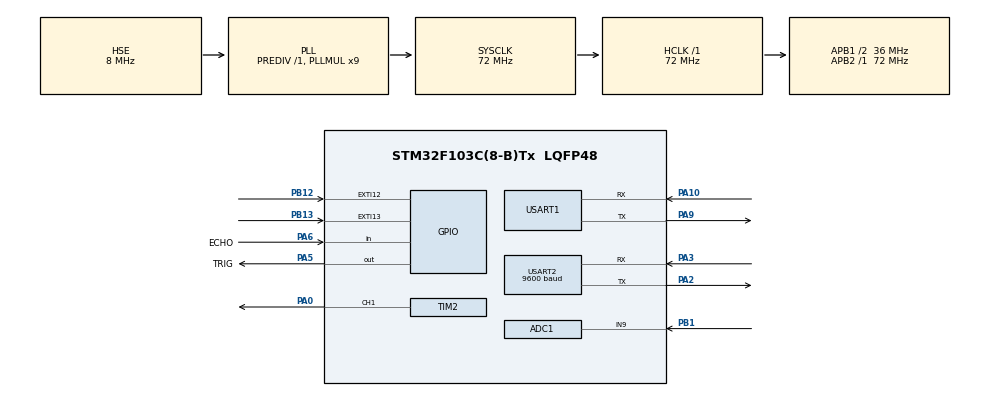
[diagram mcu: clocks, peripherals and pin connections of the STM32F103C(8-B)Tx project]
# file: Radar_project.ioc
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ADC1.Channel-1\#ChannelRegularConversion=ADC_CHANNEL_9
ADC1.NbrOfConversionFlag=1
ADC1.Rank-1\#ChannelRegularConversion=1
ADC1.SamplingTime-1\#ChannelRegularConversion=ADC_SAMPLETIME_1CYCLE_5
ADC1.master=1
Mcu.Family=STM32F1
Mcu.Name=STM32F103C(8-B)Tx
Mcu.Package=LQFP48
NVIC.EXTI15_10_IRQn=true\:0\:0\:false\:false\:true\:true\:true\:true
NVIC.PriorityGroup=NVIC_PRIORITYGROUP_4
PA0-WKUP.Signal=S_TIM2_CH1_ETR
PA10.Mode=Asynchronous
PA10.Signal=USART1_RX
PA2.Mode=Asynchronous
PA2.Signal=USART2_TX
PA3.Mode=Asynchronous
PA3.Signal=USART2_RX
PA5.GPIO_Label=TRIG
PA5.Signal=GPIO_Output
PA6.GPIO_Label=ECHO
PA6.Signal=GPIO_Input
PA9.Mode=Asynchronous
PA9.Signal=USART1_TX
PB1.Signal=ADCx_IN9
PB12.GPIO_PuPd=GPIO_PULLDOWN
PB12.Signal=GPXTI12
PB13.GPIO_PuPd=GPIO_PULLDOWN
PB13.Signal=GPXTI13
PD0-OSC_IN.Mode=HSE-External-Oscillator
PD0-OSC_IN.Signal=RCC_OSC_IN
PD1-OSC_OUT.Mode=HSE-External-Oscillator
PD1-OSC_OUT.Signal=RCC_OSC_OUT
ProjectManager.HeapSize=0x200
ProjectManager.StackSize=0x400
ProjectManager.TargetToolchain=STM32CubeIDE
RCC.ADCPresc=RCC_ADCPCLK2_DIV6
RCC.AHBFreq_Value=72000000
RCC.APB1CLKDivider=RCC_HCLK_DIV2
RCC.APB1Freq_Value=36000000
RCC.APB1TimFreq_Value=72000000
RCC.APB2Freq_Value=72000000
RCC.APB2TimFreq_Value=72000000
RCC.HCLKFreq_Value=72000000
RCC.PLLMUL=RCC_PLL_MUL9
RCC.PLLSourceVirtual=RCC_PLLSOURCE_HSE
RCC.SYSCLKFreq_VALUE=72000000
RCC.SYSCLKSource=RCC_SYSCLKSOURCE_PLLCLK
RCC.USBFreq_Value=72000000
SH.ADCx_IN9.0=ADC1_IN9,IN9
SH.S_TIM2_CH1_ETR.0=TIM2_CH1,PWM Generation1 CH1
TIM1.Prescaler=71
TIM2.Channel-PWM\ Generation1\ CH1=TIM_CHANNEL_1
TIM2.Period=19999
TIM2.Prescaler=71
USART1.VirtualMode=VM_ASYNC
USART2.BaudRate=9600
USART2.VirtualMode=VM_ASYNC
VP_SYS_VS_ND.Mode=No_Debug
VP_TIM1_VS_ClockSourceINT.Mode=Internal
VP_TIM2_VS_ClockSourceINT.Mode=Internal
board=custom

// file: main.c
/* USER CODE BEGIN Header */
/**
  ******************************************************************************
  * @file           : main.c
  * @brief          : Main program body
  ******************************************************************************
  */
/* USER CODE END Header */
#include "main.h"
#include <stdio.h>
#include <string.h>

ADC_HandleTypeDef hadc1;
TIM_HandleTypeDef htim1;
TIM_HandleTypeDef htim2;
UART_HandleTypeDef huart1;
UART_HandleTypeDef huart2;

/* USER CODE BEGIN 0 */
// Volatile flags for hardware interrupts.
// State changes are deferred to the main loop to keep ISR execution time minimal.
volatile uint8_t pb12_interrupt_flag = 0;
volatile uint8_t pb13_interrupt_flag = 0;
/* USER CODE END 0 */

void SystemClock_Config(void);
static void MX_GPIO_Init(void);
static void MX_TIM2_Init(void);
static void MX_TIM1_Init(void);
static void MX_USART1_UART_Init(void);
static void MX_USART2_UART_Init(void);
static void MX_ADC1_Init(void);

int main(void)
{
  HAL_Init();
  SystemClock_Config();

  MX_GPIO_Init();
  MX_TIM2_Init();
  MX_TIM1_Init();
  MX_USART1_UART_Init();
  MX_USART2_UART_Init();
  MX_ADC1_Init();

  /* USER CODE BEGIN 2 */
  // Initialize Hardware Timers
  HAL_TIM_PWM_Start(&htim2, TIM_CHANNEL_1); // Servo Motor PWM
  HAL_TIM_Base_Start(&htim1);               // Ultrasonic Microsecond Counter

  // Servo Control Parameters (PWM limits for 180-degree sweep)
  uint16_t pulse_min = 500;
  uint16_t pulse_max = 2500;
  uint16_t pulse_width = 1500; // Initialize at 90 degrees (center)
  uint16_t step_size = 2;
  uint16_t delay_ms = 5;

  // Sensor & Data Pipeline Variables
  uint32_t echo_time = 0;
  uint16_t distance = 0;
  char uart_buffer[50];
  uint32_t timeout = 0;

  // System State Management
  int8_t transmit_method = 1;  // 1 = Wired (UART1), -1 = Wireless (UART2)
  int8_t movement_method = 1;  // 1 = Auto-Sweep, -1 = Manual Joystick
  /* USER CODE END 2 */

  while (1)
  {
      // --- Process Pending Hardware Interrupts ---

      // Toggle Data Transmission Route
      if (pb12_interrupt_flag == 1)
      {
          transmit_method = transmit_method * -1;
          pb12_interrupt_flag = 0;
      }

      // Toggle Movement Control Mode
      if (pb13_interrupt_flag == 1)
      {
          movement_method = movement_method * -1;
          pb13_interrupt_flag = 0;
      }

      // ==========================================
      // MODE 1: AUTOMATED RADAR SWEEP
      // ==========================================
      if (movement_method == 1)
      {
          // Sweep UP (0 to 180 degrees)
          for (; pulse_width <= pulse_max; pulse_width += step_size)
          {
              // Check for state changes mid-sweep
              if (pb12_interrupt_flag == 1) { transmit_method *= -1; pb12_interrupt_flag = 0; }
              if (pb13_interrupt_flag == 1) { movement_method *= -1; pb13_interrupt_flag = 0; break; }

              // Move Servo
              __HAL_TIM_SET_COMPARE(&htim2, TIM_CHANNEL_1, pulse_width);
              HAL_Delay(delay_ms);

              // Transmit 10us Ultrasonic Trigger Pulse
              HAL_GPIO_WritePin(TRIG_GPIO_Port, TRIG_Pin, GPIO_PIN_SET);
              HAL_Delay(1);
              HAL_GPIO_WritePin(TRIG_GPIO_Port, TRIG_Pin, GPIO_PIN_RESET);

              // Wait for Echo line to go HIGH
              timeout = 0;
              while (HAL_GPIO_ReadPin(ECHO_GPIO_Port, ECHO_Pin) == GPIO_PIN_RESET && timeout < 30000) { timeout++; }

              // Reset timer and measure Echo pulse duration
              __HAL_TIM_SET_COUNTER(&htim1, 0);

              timeout = 0;
              while (HAL_GPIO_ReadPin(ECHO_GPIO_Port, ECHO_Pin) == GPIO_PIN_SET && timeout < 30000) { timeout++; }

              echo_time = __HAL_TIM_GET_COUNTER(&htim1);
              distance = echo_time * 0.0343 / 2; // Convert raw time to distance in cm

              // Package data into CSV format: [Pulse, Distance, Time]
              if (echo_time == 0 || echo_time > 30000) {
                  snprintf(uart_buffer, sizeof(uart_buffer), "error\r\n");
              } else {
                  snprintf(uart_buffer, sizeof(uart_buffer), "%u,%u,%lu\r\n", pulse_width, distance, echo_time);
              }

              // Route data payload to the active transmission port
              if (transmit_method == 1) {
                  HAL_UART_Transmit(&huart1, (uint8_t *)uart_buffer, strlen(uart_buffer), HAL_MAX_DELAY);
              } else if (transmit_method == -1) {
                  HAL_UART_Transmit(&huart2, (uint8_t *)uart_buffer, strlen(uart_buffer), HAL_MAX_DELAY);
              } else {
                  snprintf(uart_buffer, sizeof(uart_buffer), "error transmitting\r\n");
                  HAL_UART_Transmit(&huart2, (uint8_t *)uart_buffer, strlen(uart_buffer), HAL_MAX_DELAY);
                  HAL_UART_Transmit(&huart1, (uint8_t *)uart_buffer, strlen(uart_buffer), HAL_MAX_DELAY);
              }
          }

          // Sweep DOWN (180 to 0 degrees)
          if (movement_method == 1)
          {
              for (; pulse_width >= pulse_min; pulse_width -= step_size)
              {
                  // Check for state changes mid-sweep
                  if (pb12_interrupt_flag == 1) { transmit_method *= -1; pb12_interrupt_flag = 0; }
                  if (pb13_interrupt_flag == 1) { movement_method *= -1; pb13_interrupt_flag = 0; break; }

                  // Move Servo
                  __HAL_TIM_SET_COMPARE(&htim2, TIM_CHANNEL_1, pulse_width);
                  HAL_Delay(delay_ms);

                  // Transmit 10us Ultrasonic Trigger Pulse
                  HAL_GPIO_WritePin(TRIG_GPIO_Port, TRIG_Pin, GPIO_PIN_SET);
                  HAL_Delay(1);
                  HAL_GPIO_WritePin(TRIG_GPIO_Port, TRIG_Pin, GPIO_PIN_RESET);

                  // Wait for Echo line to go HIGH
                  timeout = 0;
                  while (HAL_GPIO_ReadPin(ECHO_GPIO_Port, ECHO_Pin) == GPIO_PIN_RESET && timeout < 30000) { timeout++; }

                  // Reset timer and measure Echo pulse duration
                  __HAL_TIM_SET_COUNTER(&htim1, 0);

                  timeout = 0;
                  while (HAL_GPIO_ReadPin(ECHO_GPIO_Port, ECHO_Pin) == GPIO_PIN_SET && timeout < 30000) { timeout++; }

                  echo_time = __HAL_TIM_GET_COUNTER(&htim1);
                  distance = echo_time * 0.0343 / 2; // Convert raw time to distance in cm

                  // Package data into CSV format: [Pulse, Distance, Time]
                  if (echo_time == 0 || echo_time > 30000) {
                      snprintf(uart_buffer, sizeof(uart_buffer), "error\r\n");
                  } else {
                      snprintf(uart_buffer, sizeof(uart_buffer), "%u,%u,%lu\r\n", pulse_width, distance, echo_time);
                  }

                  // Route data payload to the active transmission port
                  if (transmit_method == 1) {
                      HAL_UART_Transmit(&huart1, (uint8_t *)uart_buffer, strlen(uart_buffer), HAL_MAX_DELAY);
                  } else if (transmit_method == -1) {
                      HAL_UART_Transmit(&huart2, (uint8_t *)uart_buffer, strlen(uart_buffer), HAL_MAX_DELAY);
                  } else {
                      snprintf(uart_buffer, sizeof(uart_buffer), "error transmitting\r\n");
                      HAL_UART_Transmit(&huart2, (uint8_t *)uart_buffer, strlen(uart_buffer), HAL_MAX_DELAY);
                      HAL_UART_Transmit(&huart1, (uint8_t *)uart_buffer, strlen(uart_buffer), HAL_MAX_DELAY);
                  }
              }
          }
      }
      // ==========================================
      // MODE -1: MANUAL ANALOG JOYSTICK OVERRIDE
      // ==========================================
      else if (movement_method == -1)
      {
          // Poll ADC to read current joystick voltage
          HAL_ADC_Start(&hadc1);
          HAL_ADC_PollForConversion(&hadc1, 10);
          uint32_t joystick_val = HAL_ADC_GetValue(&hadc1);

          // Calibrated joystick deadzones (Center resting value is ~3145)
          int32_t deadzone_left = 2900;
          int32_t deadzone_right = 3400;

          // Asymmetric sensitivity scaling to balance hardware voltage offsets
          int32_t sensitivity_left = 150;
          int32_t sensitivity_right = 37;

          int32_t dynamic_step = 0;
          int32_t difference = 0;

          // Process Left Deflection
          if (joystick_val < deadzone_left)
          {
              difference = deadzone_left - joystick_val;
              dynamic_step = 1 + (difference / sensitivity_left);

              if (pulse_width > pulse_min) {
                  if (pulse_width > (pulse_min + dynamic_step)) {
                      pulse_width -= dynamic_step;
                  } else {
                      pulse_width = pulse_min;
                  }
              }
          }
          // Process Right Deflection
          else if (joystick_val > deadzone_right)
          {
              difference = joystick_val - deadzone_right;
              dynamic_step = 1 + (difference / sensitivity_right);

              if (pulse_width < pulse_max) {
                  if (pulse_width < (pulse_max - dynamic_step)) {
                      pulse_width += dynamic_step;
                  } else {
                      pulse_width = pulse_max;
                  }
              }
          }

          // Apply calculated dynamic step to servo
          __HAL_TIM_SET_COMPARE(&htim2, TIM_CHANNEL_1, pulse_width);
          HAL_Delay(delay_ms);

          // Continuous Radar Ping for live environment monitoring during manual override
          HAL_GPIO_WritePin(TRIG_GPIO_Port, TRIG_Pin, GPIO_PIN_SET);
          HAL_Delay(1);
          HAL_GPIO_WritePin(TRIG_GPIO_Port, TRIG_Pin, GPIO_PIN_RESET);

          timeout = 0;
          while (HAL_GPIO_ReadPin(ECHO_GPIO_Port, ECHO_Pin) == GPIO_PIN_RESET && timeout < 30000) { timeout++; }

          __HAL_TIM_SET_COUNTER(&htim1, 0);

          timeout = 0;
          while (HAL_GPIO_ReadPin(ECHO_GPIO_Port, ECHO_Pin) == GPIO_PIN_SET && timeout < 30000) { timeout++; }

          echo_time = __HAL_TIM_GET_COUNTER(&htim1);
          distance = echo_time * 0.0343 / 2;

          if (echo_time == 0 || echo_time > 30000) {
              snprintf(uart_buffer, sizeof(uart_buffer), "error\r\n");
          } else {
              snprintf(uart_buffer, sizeof(uart_buffer), "%u,%u,%lu\r\n", pulse_width, distance, echo_time);
          }

          // Route data payload to the active transmission port
          if (transmit_method == 1) {
              HAL_UART_Transmit(&huart1, (uint8_t *)uart_buffer, strlen(uart_buffer), HAL_MAX_DELAY);
          } else if (transmit_method == -1) {
              HAL_UART_Transmit(&huart2, (uint8_t *)uart_buffer, strlen(uart_buffer), HAL_MAX_DELAY);
          } else {
              snprintf(uart_buffer, sizeof(uart_buffer), "error transmitting\r\n");
              HAL_UART_Transmit(&huart2, (uint8_t *)uart_buffer, strlen(uart_buffer), HAL_MAX_DELAY);
              HAL_UART_Transmit(&huart1, (uint8_t *)uart_buffer, strlen(uart_buffer), HAL_MAX_DELAY);
          }
      }
  }
}

// ---------------------------------------------------------
// INITIALIZATION FUNCTIONS (Auto-Generated by STM32CubeMX)
// ---------------------------------------------------------
void SystemClock_Config(void)
{
  RCC_OscInitTypeDef RCC_OscInitStruct = {0};
  RCC_ClkInitTypeDef RCC_ClkInitStruct = {0};
  RCC_PeriphCLKInitTypeDef PeriphClkInit = {0};

  RCC_OscInitStruct.OscillatorType = RCC_OSCILLATORTYPE_HSE;
  RCC_OscInitStruct.HSEState = RCC_HSE_ON;
  RCC_OscInitStruct.HSEPredivValue = RCC_HSE_PREDIV_DIV1;
  RCC_OscInitStruct.HSIState = RCC_HSI_ON;
  RCC_OscInitStruct.PLL.PLLState = RCC_PLL_ON;
  RCC_OscInitStruct.PLL.PLLSource = RCC_PLLSOURCE_HSE;
  RCC_OscInitStruct.PLL.PLLMUL = RCC_PLL_MUL9; // 8MHz Crystal * 9 = 72MHz System Clock
  if (HAL_RCC_OscConfig(&RCC_OscInitStruct) != HAL_OK) { Error_Handler(); }

  RCC_ClkInitStruct.ClockType = RCC_CLOCKTYPE_HCLK|RCC_CLOCKTYPE_SYSCLK|RCC_CLOCKTYPE_PCLK1|RCC_CLOCKTYPE_PCLK2;
  RCC_ClkInitStruct.SYSCLKSource = RCC_SYSCLKSOURCE_PLLCLK;
  RCC_ClkInitStruct.AHBCLKDivider = RCC_SYSCLK_DIV1;
  RCC_ClkInitStruct.APB1CLKDivider = RCC_HCLK_DIV2;
  RCC_ClkInitStruct.APB2CLKDivider = RCC_HCLK_DIV1;
  if (HAL_RCC_ClockConfig(&RCC_ClkInitStruct, FLASH_LATENCY_2) != HAL_OK) { Error_Handler(); }

  PeriphClkInit.PeriphClockSelection = RCC_PERIPHCLK_ADC;
  PeriphClkInit.AdcClockSelection = RCC_ADCPCLK2_DIV6;
  if (HAL_RCCEx_PeriphCLKConfig(&PeriphClkInit) != HAL_OK) { Error_Handler(); }
}

static void MX_ADC1_Init(void)
{
  ADC_ChannelConfTypeDef sConfig = {0};

  hadc1.Instance = ADC1;
  hadc1.Init.ScanConvMode = ADC_SCAN_DISABLE;
  hadc1.Init.ContinuousConvMode = DISABLE;
  hadc1.Init.DiscontinuousConvMode = DISABLE;
  hadc1.Init.ExternalTrigConv = ADC_SOFTWARE_START;
  hadc1.Init.DataAlign = ADC_DATAALIGN_RIGHT;
  hadc1.Init.NbrOfConversion = 1;
  if (HAL_ADC_Init(&hadc1) != HAL_OK) { Error_Handler(); }

  sConfig.Channel = ADC_CHANNEL_9;
  sConfig.Rank = ADC_REGULAR_RANK_1;
  sConfig.SamplingTime = ADC_SAMPLETIME_1CYCLE_5;
  if (HAL_ADC_ConfigChannel(&hadc1, &sConfig) != HAL_OK) { Error_Handler(); }
}

static void MX_TIM1_Init(void)
{
  TIM_ClockConfigTypeDef sClockSourceConfig = {0};
  TIM_MasterConfigTypeDef sMasterConfig = {0};

  htim1.Instance = TIM1;
  htim1.Init.Prescaler = 71;
  htim1.Init.CounterMode = TIM_COUNTERMODE_UP;
  htim1.Init.Period = 65535;
  htim1.Init.ClockDivision = TIM_CLOCKDIVISION_DIV1;
  htim1.Init.RepetitionCounter = 0;
  htim1.Init.AutoReloadPreload = TIM_AUTORELOAD_PRELOAD_DISABLE;
  if (HAL_TIM_Base_Init(&htim1) != HAL_OK) { Error_Handler(); }

  sClockSourceConfig.ClockSource = TIM_CLOCKSOURCE_INTERNAL;
  if (HAL_TIM_ConfigClockSource(&htim1, &sClockSourceConfig) != HAL_OK) { Error_Handler(); }
  sMasterConfig.MasterOutputTrigger = TIM_TRGO_RESET;
  sMasterConfig.MasterSlaveMode = TIM_MASTERSLAVEMODE_DISABLE;
  if (HAL_TIMEx_MasterConfigSynchronization(&htim1, &sMasterConfig) != HAL_OK) { Error_Handler(); }
}

static void MX_TIM2_Init(void)
{
  TIM_ClockConfigTypeDef sClockSourceConfig = {0};
  TIM_MasterConfigTypeDef sMasterConfig = {0};
  TIM_OC_InitTypeDef sConfigOC = {0};

  htim2.Instance = TIM2;
  htim2.Init.Prescaler = 71;
  htim2.Init.CounterMode = TIM_COUNTERMODE_UP;
  htim2.Init.Period = 19999;
  htim2.Init.ClockDivision = TIM_CLOCKDIVISION_DIV1;
  htim2.Init.AutoReloadPreload = TIM_AUTORELOAD_PRELOAD_DISABLE;
  if (HAL_TIM_Base_Init(&htim2) != HAL_OK) { Error_Handler(); }
  sClockSourceConfig.ClockSource = TIM_CLOCKSOURCE_INTERNAL;
  if (HAL_TIM_ConfigClockSource(&htim2, &sClockSourceConfig) != HAL_OK) { Error_Handler(); }
  if (HAL_TIM_PWM_Init(&htim2) != HAL_OK) { Error_Handler(); }
  sMasterConfig.MasterOutputTrigger = TIM_TRGO_RESET;
  sMasterConfig.MasterSlaveMode = TIM_MASTERSLAVEMODE_DISABLE;
  if (HAL_TIMEx_MasterConfigSynchronization(&htim2, &sMasterConfig) != HAL_OK) { Error_Handler(); }
  sConfigOC.OCMode = TIM_OCMODE_PWM1;
  sConfigOC.Pulse = 0;
  sConfigOC.OCPolarity = TIM_OCPOLARITY_HIGH;
  sConfigOC.OCFastMode = TIM_OCFAST_DISABLE;
  if (HAL_TIM_PWM_ConfigChannel(&htim2, &sConfigOC, TIM_CHANNEL_1) != HAL_OK) { Error_Handler(); }
  HAL_TIM_MspPostInit(&htim2);
}

static void MX_USART1_UART_Init(void)
{
  huart1.Instance = USART1;
  huart1.Init.BaudRate = 115200;
  huart1.Init.WordLength = UART_WORDLENGTH_8B;
  huart1.Init.StopBits = UART_STOPBITS_1;
  huart1.Init.Parity = UART_PARITY_NONE;
  huart1.Init.Mode = UART_MODE_TX_RX;
  huart1.Init.HwFlowCtl = UART_HWCONTROL_NONE;
  huart1.Init.OverSampling = UART_OVERSAMPLING_16;
  if (HAL_UART_Init(&huart1) != HAL_OK) { Error_Handler(); }
}

static void MX_USART2_UART_Init(void)
{
  huart2.Instance = USART2;
  huart2.Init.BaudRate = 9600;
  huart2.Init.WordLength = UART_WORDLENGTH_8B;
  huart2.Init.StopBits = UART_STOPBITS_1;
  huart2.Init.Parity = UART_PARITY_NONE;
  huart2.Init.Mode = UART_MODE_TX_RX;
  huart2.Init.HwFlowCtl = UART_HWCONTROL_NONE;
  huart2.Init.OverSampling = UART_OVERSAMPLING_16;
  if (HAL_UART_Init(&huart2) != HAL_OK) { Error_Handler(); }
}

static void MX_GPIO_Init(void)
{
  GPIO_InitTypeDef GPIO_InitStruct = {0};

  __HAL_RCC_GPIOD_CLK_ENABLE();
  __HAL_RCC_GPIOA_CLK_ENABLE();
  __HAL_RCC_GPIOB_CLK_ENABLE();

  HAL_GPIO_WritePin(TRIG_GPIO_Port, TRIG_Pin, GPIO_PIN_RESET);

  GPIO_InitStruct.Pin = TRIG_Pin;
  GPIO_InitStruct.Mode = GPIO_MODE_OUTPUT_PP;
  GPIO_InitStruct.Pull = GPIO_NOPULL;
  GPIO_InitStruct.Speed = GPIO_SPEED_FREQ_LOW;
  HAL_GPIO_Init(TRIG_GPIO_Port, &GPIO_InitStruct);

  GPIO_InitStruct.Pin = ECHO_Pin;
  GPIO_InitStruct.Mode = GPIO_MODE_INPUT;
  GPIO_InitStruct.Pull = GPIO_NOPULL;
  HAL_GPIO_Init(ECHO_GPIO_Port, &GPIO_InitStruct);

  GPIO_InitStruct.Pin = GPIO_PIN_12|GPIO_PIN_13;
  GPIO_InitStruct.Mode = GPIO_MODE_IT_RISING;
  GPIO_InitStruct.Pull = GPIO_PULLDOWN;
  HAL_GPIO_Init(GPIOB, &GPIO_InitStruct);

  HAL_NVIC_SetPriority(EXTI15_10_IRQn, 0, 0);
  HAL_NVIC_EnableIRQ(EXTI15_10_IRQn);
}

/* USER CODE BEGIN 4 */
// Software debounce algorithm and hardware state verification
// to filter out noisy contacts and fix phantom button presses
void HAL_GPIO_EXTI_Callback(uint16_t GPIO_Pin)
{
    static uint32_t last_time_pb12 = 0;
    static uint32_t last_time_pb13 = 0;
    uint32_t current_time = HAL_GetTick();

    if (GPIO_Pin == GPIO_PIN_12)
    {
        // 300ms debounce window + physical high-state verification
        if ((current_time - last_time_pb12 > 300) && (HAL_GPIO_ReadPin(GPIOB, GPIO_PIN_12) == GPIO_PIN_SET))
        {
            pb12_interrupt_flag = 1;
            last_time_pb12 = current_time;
        }
    }

    if (GPIO_Pin == GPIO_PIN_13)
    {
        // 300ms debounce window + physical high-state verification
        if ((current_time - last_time_pb13 > 300) && (HAL_GPIO_ReadPin(GPIOB, GPIO_PIN_13) == GPIO_PIN_SET))
        {
            pb13_interrupt_flag = 1;
            last_time_pb13 = current_time;
        }
    }
}
/* USER CODE END 4 */

void Error_Handler(void)
{
  __disable_irq();
  while (1) {}
}
